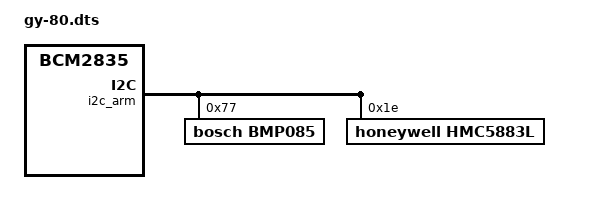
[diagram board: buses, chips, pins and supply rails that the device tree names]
/dts-v1/;
/plugin/;

/ {
        compatible = "brcm,bcm2835";

        fragment@0 {
                target = <&i2c_arm>;
                __overlay__ {
                        status = "okay";
                        #address-cells = <1>;
                        #size-cells = <0>;
/* Define the BMP085 pressure sensor at address 0x77 */
                        bmp085: bmp085@77 {
                                compatible = "bosch,bmp085";
                                default-oversampling = <3>;
                                reg = <0x77>;
                        };

/* Define the HMC5883L magnetic sensor at address 0x1e */
                        hmc5883l: hmc5883l@1e {
                                  compatible = "honeywell,hmc5883l";
                                  reg = <0x1e>;
                                };
            };
        };

};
